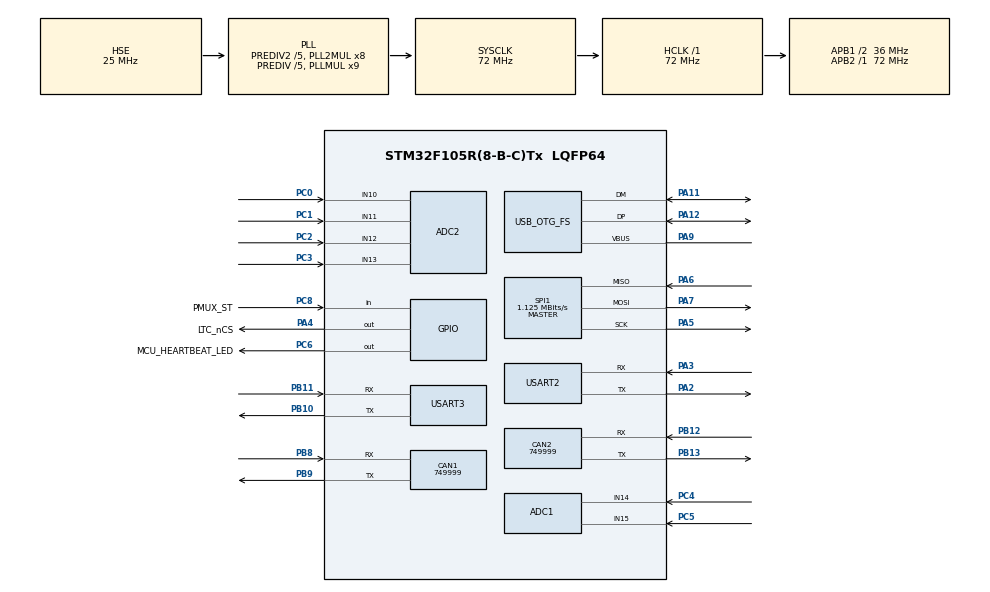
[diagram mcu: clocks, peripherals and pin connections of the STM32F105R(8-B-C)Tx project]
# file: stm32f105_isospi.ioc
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ADC1.Channel-1\#ChannelRegularConversion=ADC_CHANNEL_14
ADC1.NbrOfConversionFlag=1
ADC1.Rank-1\#ChannelRegularConversion=1
ADC1.SamplingTime-1\#ChannelRegularConversion=ADC_SAMPLETIME_1CYCLE_5
ADC1.master=1
ADC2.Channel-0\#ChannelRegularConversion=ADC_CHANNEL_10
ADC2.NbrOfConversionFlag=1
ADC2.Rank-0\#ChannelRegularConversion=1
ADC2.SamplingTime-0\#ChannelRegularConversion=ADC_SAMPLETIME_1CYCLE_5
CAN1.BS1=CAN_BS1_1TQ
CAN1.BS2=CAN_BS2_1TQ
CAN1.CalculateBaudRate=749999
CAN1.CalculateTimeBit=1333
CAN1.CalculateTimeQuantum=444.44444444444446
CAN2.BS1=CAN_BS1_1TQ
CAN2.BS2=CAN_BS2_1TQ
CAN2.CalculateBaudRate=749999
CAN2.CalculateTimeBit=1333
CAN2.CalculateTimeQuantum=444.44444444444446
Mcu.Family=STM32F1
Mcu.Name=STM32F105R(8-B-C)Tx
Mcu.Package=LQFP64
NVIC.OTG_FS_IRQn=true\:0\:0\:false\:false\:true\:false\:true\:true
NVIC.PriorityGroup=NVIC_PRIORITYGROUP_4
PA0-WKUP.GPIO_Label=MCU_USB_INT
PA0-WKUP.Mode=SYS_WakeUp0
PA0-WKUP.Signal=SYS_WKUP
PA11.Mode=Device_Only
PA11.Signal=USB_OTG_FS_DM
PA12.Mode=Device_Only
PA12.Signal=USB_OTG_FS_DP
PA13.Mode=Serial_Wire
PA13.Signal=SYS_JTMS-SWDIO
PA14.Mode=Serial_Wire
PA14.Signal=SYS_JTCK-SWCLK
PA2.Mode=Asynchronous
PA2.Signal=USART2_TX
PA3.Mode=Asynchronous
PA3.Signal=USART2_RX
PA4.GPIO_Label=LTC_nCS
PA4.Signal=GPIO_Output
PA5.Mode=Full_Duplex_Master
PA5.Signal=SPI1_SCK
PA6.Mode=Full_Duplex_Master
PA6.Signal=SPI1_MISO
PA7.Mode=Full_Duplex_Master
PA7.Signal=SPI1_MOSI
PA9.Mode=Activate_VBUS
PA9.Signal=USB_OTG_FS_VBUS
PB10.Mode=Asynchronous
PB10.Signal=USART3_TX
PB11.Mode=Asynchronous
PB11.Signal=USART3_RX
PB12.Mode=CAN_Activate
PB12.Signal=CAN2_RX
PB13.Mode=CAN_Activate
PB13.Signal=CAN2_TX
PB8.Mode=CAN_Activate
PB8.Signal=CAN1_RX
PB9.Mode=CAN_Activate
PB9.Signal=CAN1_TX
PC0.Signal=ADCx_IN10
PC1.Signal=ADCx_IN11
PC14-OSC32_IN.Mode=LSE-External-Oscillator
PC14-OSC32_IN.Signal=RCC_OSC32_IN
PC15-OSC32_OUT.Mode=LSE-External-Oscillator
PC15-OSC32_OUT.Signal=RCC_OSC32_OUT
PC2.Signal=ADCx_IN12
PC3.Signal=ADCx_IN13
PC4.Signal=ADCx_IN14
PC5.Signal=ADCx_IN15
PC6.GPIO_Label=MCU_HEARTBEAT_LED
PC6.Signal=GPIO_Output
PC8.GPIO_Label=PMUX_ST
PC8.Signal=GPIO_Input
PD0-OSC_IN.Mode=HSE-External-Oscillator
PD0-OSC_IN.Signal=RCC_OSC_IN
PD1-OSC_OUT.Mode=HSE-External-Oscillator
PD1-OSC_OUT.Signal=RCC_OSC_OUT
ProjectManager.HeapSize=0x200
ProjectManager.StackSize=0x400
ProjectManager.TargetToolchain=STM32CubeIDE
RCC.ADCPresc=RCC_ADCPCLK2_DIV6
RCC.AHBFreq_Value=72000000
RCC.APB1CLKDivider=RCC_HCLK_DIV2
RCC.APB1Freq_Value=36000000
RCC.APB1TimFreq_Value=72000000
RCC.APB2Freq_Value=72000000
RCC.APB2TimFreq_Value=72000000
RCC.HCLKFreq_Value=72000000
RCC.HSEDivPLL=RCC_HSE_PREDIV_DIV5
RCC.HSE_VALUE=25000000
RCC.PLLMUL=RCC_PLL_MUL9
RCC.PLLSourceVirtual=RCC_PLLSOURCE_HSE
RCC.Prediv1Source=RCC_PREDIV1_SOURCE_PLL2
RCC.Prediv2=RCC_HSE_PREDIV2_DIV5
RCC.SYSCLKFreq_VALUE=72000000
RCC.SYSCLKSource=RCC_SYSCLKSOURCE_PLLCLK
RCC.USBFreq_Value=48000000
SH.ADCx_IN10.0=ADC2_IN10,IN10
SH.ADCx_IN11.0=ADC2_IN11,IN11
SH.ADCx_IN12.0=ADC2_IN12,IN12
SH.ADCx_IN13.0=ADC2_IN13,IN13
SH.ADCx_IN14.0=ADC1_IN14,IN14
SH.ADCx_IN15.0=ADC1_IN15,IN15
SPI1.BaudRatePrescaler=SPI_BAUDRATEPRESCALER_64
SPI1.CalculateBaudRate=1.125 MBits/s
SPI1.Direction=SPI_DIRECTION_2LINES
SPI1.Mode=SPI_MODE_MASTER
SPI1.VirtualType=VM_MASTER
TIM7.AutoReloadPreload=TIM_AUTORELOAD_PRELOAD_ENABLE
TIM7.Period=65535
TIM7.Prescaler=0
USART2.VirtualMode=VM_ASYNC
USART3.VirtualMode=VM_ASYNC
USB_DEVICE.CLASS_NAME_FS=CDC
USB_DEVICE.VirtualMode=Cdc
USB_DEVICE.VirtualModeFS=Cdc_FS
USB_OTG_FS.VirtualMode=Device_Only
VP_TIM7_VS_ClockSourceINT.Mode=Enable_Timer
VP_USB_DEVICE_VS_USB_DEVICE_CDC_FS.Mode=CDC_FS
board=custom

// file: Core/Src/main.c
/* USER CODE BEGIN Header */
/**
  ******************************************************************************
  * @file           : main.c
  * @brief          : Main program body
  ******************************************************************************
  * @attention
  *
  * Copyright (c) 2023 STMicroelectronics.
  * All rights reserved.
  *
  * This software is licensed under terms that can be found in the LICENSE file
  * in the root directory of this software component.
  * If no LICENSE file comes with this software, it is provided AS-IS.
  *
  ******************************************************************************
  */
/* USER CODE END Header */
#include "main.h"
#include "adc.h"
#include "can.h"
#include "spi.h"
#include "tim.h"
#include "usart.h"
#include "usb_device.h"
#include "gpio.h"

/* USER CODE BEGIN Includes */
#include "string.h"
#include "ltc6813.h"

/* USER CODE END Includes */

/* USER CODE BEGIN PD */
#define NUM_DEVICES_DEFAULT					1	//2 slave boards
#define NUM_SERIES_GROUPS_PER_MOD_DEFAULT	12	//12 in series
#define NUM_SERIES_GROUPS_TOTAL_DEFAULT		(NUM_DEVICES_DEFAULT * NUM_SERIES_GROUPS_PER_MOD_DEFAULT) //24 series groups

#define LTC_DELAY_MS			500 //500ms update delay
#define LED_HEARTBEAT_DELAY_MS	500 //500ms update delay

/* USER CODE END PD */

/* USER CODE BEGIN PV */

typedef struct _TimerPacket {
	uint32_t 		ts_prev;	//Previous timestamp
	uint32_t 		ts_curr; 	//Current timestamp
	uint32_t		delay;		//Amount to delay
} TimerPacket;

/* USER CODE END PV */

void SystemClock_Config(void);
/* USER CODE BEGIN PFP */

void TimerPacket_Init(TimerPacket *tp, uint32_t delay);

//Returns 1 at every tp->delay interval
uint8_t TimerPacket_FixedPulse(TimerPacket *tp);

//Set Heartbeat LED to LOW
void LED_Heartbeat_Init(void);

//Toggle Heartbeat LED
void LED_Heartbeat_Toggle(void);

/* USER CODE END PFP */

int main(void)
{
  /* USER CODE BEGIN 1 */
  TimerPacket tp_led_heartbeat;
  TimerPacket tp_ltc;

  uint16_t read_val[NUM_SERIES_GROUPS_TOTAL_DEFAULT]; //To hold all series groups' data

  /* USER CODE END 1 */

  /* MCU Configuration--------------------------------------------------------*/

  /* Reset of all peripherals, Initializes the Flash interface and the Systick. */
  HAL_Init();

  /* Configure the system clock */
  SystemClock_Config();

  /* Initialize all configured peripherals */
  MX_GPIO_Init();
  MX_ADC1_Init();
  MX_ADC2_Init();
  MX_CAN1_Init();
  MX_CAN2_Init();
  MX_TIM7_Init();
  MX_SPI1_Init();
  MX_USART2_UART_Init();
  MX_USART3_UART_Init();
  MX_USB_DEVICE_Init();
  /* USER CODE BEGIN 2 */

  //Start timer
  TimerPacket_Init(&tp_led_heartbeat, LED_HEARTBEAT_DELAY_MS);
  TimerPacket_Init(&tp_ltc, LTC_DELAY_MS);

  //Set Heartbeat LED initial value to LOW
  LED_Heartbeat_Init();

  //Pull SPI1 nCS HIGH (deselect)
  LTC_SPI_nCS_High();

  LTC_Set_Num_Devices(NUM_DEVICES_DEFAULT);
  LTC_Set_Num_Series_Groups(NUM_SERIES_GROUPS_PER_MOD_DEFAULT);

  //Something with this implementation is wacky, keep out for now. WIP
  //LTC_InitCellMonitor();

  /* USER CODE END 2 */

  /* Infinite loop */
  while (1)
  {

    /* USER CODE BEGIN 3 */

	  	//LED HEARTBEAT
		if (TimerPacket_FixedPulse(&tp_led_heartbeat)) { LED_Heartbeat_Toggle(); }

		//READ CELL VOLTAGE
		if (TimerPacket_FixedPulse(&tp_ltc)) {
			char buf[20];
			char out_buf[1024] = "";
			char char_to_str_pre[1];
			char char_to_str_post[3];

			LTC_ReadRawCellVoltages((uint16_t *)read_val);

			//Remeasure cell voltages
			LTC_WriteClearCellVoltageRegisters();
			LTC_WriteStartCellVoltageConversion(MD_FILTERED, DCP_DISABLED, CELL_CH_ALL);

			char_to_str_pre[0] = '$'; //Start delimiter for voltage
			strncat(out_buf, char_to_str_pre, 1);
			for (uint8_t i = 0; i < NUM_SERIES_GROUPS_TOTAL_DEFAULT; i++) {
				// sprintf(buf, "C%u:%u/1000 V", i+1, read_val[i]);
				sprintf(buf, "c%u=%u,", i+1, read_val[i]);
				strncat(out_buf, buf, 20);
			}
			char_to_str_post[0] = '@'; //End delimiter for voltage
			char_to_str_post[1] = '\n';
			char_to_str_post[2] = '\0';
			strncat(out_buf, char_to_str_post, 3);
			//strncat(out_buf, "@", 1);

			// strncat(out_buf, char_to_str, 3);

			USB_Transmit(out_buf, strlen(out_buf));
		}
  }
  /* USER CODE END 3 */
}

void SystemClock_Config(void)
{
  RCC_OscInitTypeDef RCC_OscInitStruct = {0};
  RCC_ClkInitTypeDef RCC_ClkInitStruct = {0};
  RCC_PeriphCLKInitTypeDef PeriphClkInit = {0};

  /** Initializes the RCC Oscillators according to the specified parameters
  * in the RCC_OscInitTypeDef structure.
  */
  RCC_OscInitStruct.OscillatorType = RCC_OSCILLATORTYPE_HSE;
  RCC_OscInitStruct.HSEState = RCC_HSE_ON;
  RCC_OscInitStruct.HSEPredivValue = RCC_HSE_PREDIV_DIV5;
  RCC_OscInitStruct.HSIState = RCC_HSI_ON;
  RCC_OscInitStruct.Prediv1Source = RCC_PREDIV1_SOURCE_PLL2;
  RCC_OscInitStruct.PLL.PLLState = RCC_PLL_ON;
  RCC_OscInitStruct.PLL.PLLSource = RCC_PLLSOURCE_HSE;
  RCC_OscInitStruct.PLL.PLLMUL = RCC_PLL_MUL9;
  RCC_OscInitStruct.PLL2.PLL2State = RCC_PLL2_ON;
  RCC_OscInitStruct.PLL2.PLL2MUL = RCC_PLL2_MUL8;
  RCC_OscInitStruct.PLL2.HSEPrediv2Value = RCC_HSE_PREDIV2_DIV5;
  if (HAL_RCC_OscConfig(&RCC_OscInitStruct) != HAL_OK)
  {
    Error_Handler();
  }

  /** Initializes the CPU, AHB and APB buses clocks
  */
  RCC_ClkInitStruct.ClockType = RCC_CLOCKTYPE_HCLK|RCC_CLOCKTYPE_SYSCLK
                              |RCC_CLOCKTYPE_PCLK1|RCC_CLOCKTYPE_PCLK2;
  RCC_ClkInitStruct.SYSCLKSource = RCC_SYSCLKSOURCE_PLLCLK;
  RCC_ClkInitStruct.AHBCLKDivider = RCC_SYSCLK_DIV1;
  RCC_ClkInitStruct.APB1CLKDivider = RCC_HCLK_DIV2;
  RCC_ClkInitStruct.APB2CLKDivider = RCC_HCLK_DIV1;

  if (HAL_RCC_ClockConfig(&RCC_ClkInitStruct, FLASH_LATENCY_2) != HAL_OK)
  {
    Error_Handler();
  }
  PeriphClkInit.PeriphClockSelection = RCC_PERIPHCLK_ADC|RCC_PERIPHCLK_USB;
  PeriphClkInit.AdcClockSelection = RCC_ADCPCLK2_DIV6;
  PeriphClkInit.UsbClockSelection = RCC_USBCLKSOURCE_PLL_DIV3;
  if (HAL_RCCEx_PeriphCLKConfig(&PeriphClkInit) != HAL_OK)
  {
    Error_Handler();
  }

  /** Configure the Systick interrupt time
  */
  __HAL_RCC_PLLI2S_ENABLE();
}

/* USER CODE BEGIN 4 */

//Initialize struct values
void TimerPacket_Init(TimerPacket *tp, uint32_t delay)
{
	tp->ts_prev 	= 0;		//Init to 0
	tp->ts_curr 	= 0; 		//Init to 0
	tp->delay		= delay;	//Init to user value
}

//tp->delay = update after X ms
uint8_t TimerPacket_FixedPulse(TimerPacket *tp)
{
	tp->ts_curr = HAL_GetTick(); //Record current timestamp

	if (tp->ts_curr - tp->ts_prev > tp->delay) {
		tp->ts_prev = tp->ts_curr; //Update prev timestamp to current
		return 1; //Enact event (time interval is a go)
	}
	return 0; //Do not enact event
}

void LED_Heartbeat_Init(void) {
	HAL_GPIO_WritePin(MCU_HEARTBEAT_LED_GPIO_Port, MCU_HEARTBEAT_LED_Pin, GPIO_PIN_RESET); //Set GPIO LOW
}

void LED_Heartbeat_Toggle(void) {
	HAL_GPIO_TogglePin(MCU_HEARTBEAT_LED_GPIO_Port, MCU_HEARTBEAT_LED_Pin); //Set GPIO LOW
}

/* USER CODE END 4 */

void Error_Handler(void)
{
  __disable_irq();
  while (1)
  {
  }
}
